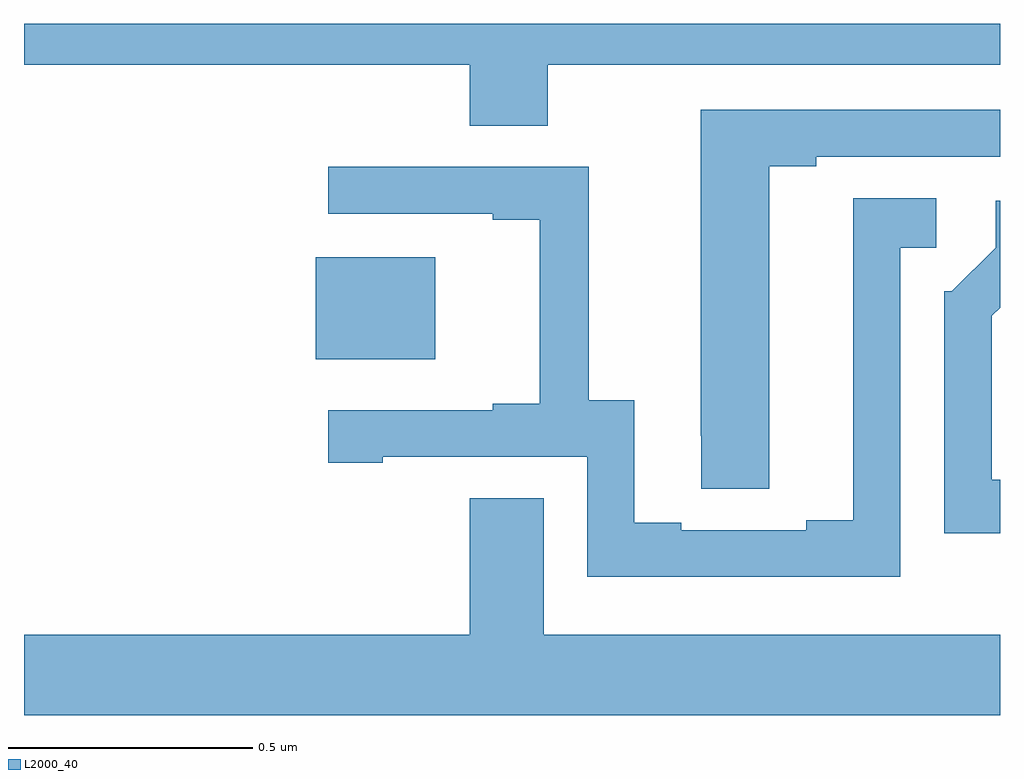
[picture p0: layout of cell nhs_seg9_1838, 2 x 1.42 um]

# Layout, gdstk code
import gdstk
lib = gdstk.Library(unit=1e-6, precision=1e-09)
def R(c, l, rs):  # rectangles x0, y0, x1, y1
    for r in rs: c.add(gdstk.rectangle(r[:2], r[2:], *l))
def P(c, l, *ps):  # polygons
    for p in ps: c.add(gdstk.Polygon(p, *l))
L2000_40 = (2000, 40)

nhs_seg9_1838 = lib.new_cell('nhs_seg9_1838')
R(nhs_seg9_1838, L2000_40, [(133.598,1199.813,133.843,1200.022)])
P(nhs_seg9_1838, L2000_40, [(134.073,1200.416),(135,1200.416),(135,1200.5),(133,1200.5),(133,1200.416),(133.913,1200.416),(133.913,1200.292),(134.073,1200.292)],
  [(134.527,1200.208),(134.623,1200.208),(134.623,1200.228),(135,1200.228),(135,1200.324),(134.387,1200.324),(134.387,1199.656),(134.388,1199.656),(134.388,1199.548),(134.527,1199.548)],
  [(134.796,1200.042),(134.869,1200.042),(134.869,1200.143),(134.699,1200.143),(134.699,1199.483),(134.603,1199.483),(134.603,1199.463),(134.347,1199.463),(134.347,1199.478),(134.251,1199.478),(134.251,1199.729),(134.157,1199.729),(134.157,1200.207),(133.623,1200.207),(133.623,1200.111),(133.961,1200.111),(133.961,1200.099),(134.057,1200.099),(134.057,1199.722),(133.961,1199.722),(133.961,1199.709),(133.623,1199.709),(133.623,1199.601),(133.735,1199.601),(133.735,1199.613),(134.154,1199.613),(134.154,1199.367),(134.796,1199.367)],
  [(135,1199.566),(134.983,1199.566),(134.983,1199.902),(135,1199.919),(135,1200.138),(134.991,1200.138),(134.991,1200.042),(134.901,1199.952),(134.886,1199.952),(134.886,1199.456),(135,1199.456)],
  [(135,1199.248),(134.065,1199.248),(134.065,1199.528),(133.913,1199.528),(133.913,1199.248),(133,1199.248),(133,1199.084),(135,1199.084)])

lib.write_gds('nhs_seg9_1838.gds')
